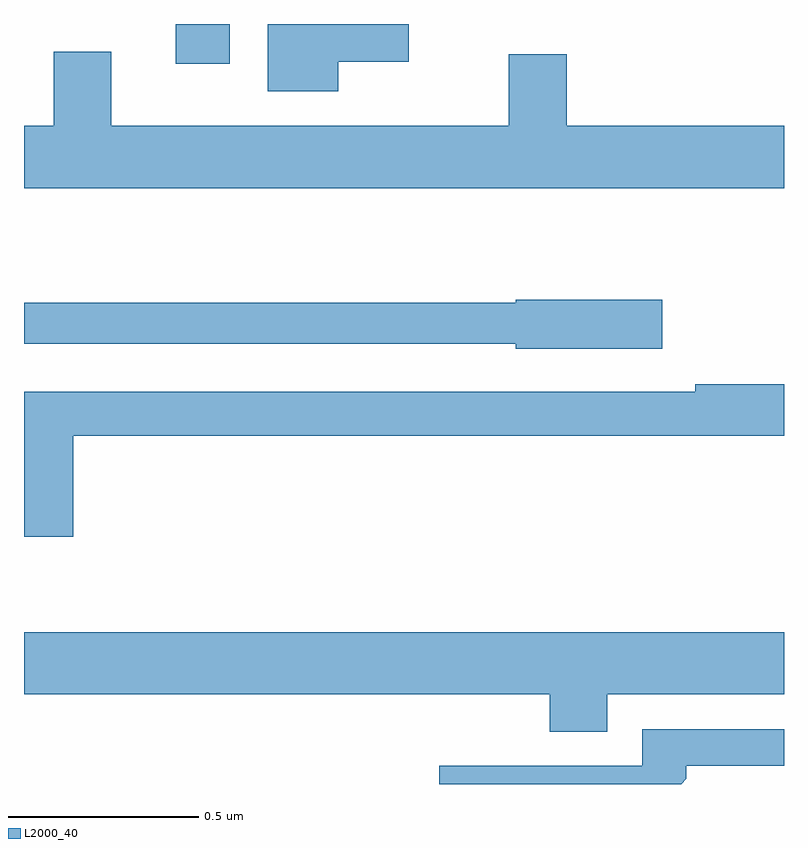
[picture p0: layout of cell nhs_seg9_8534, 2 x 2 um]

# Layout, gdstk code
import gdstk
lib = gdstk.Library(unit=1e-6, precision=1e-09)
def R(c, l, rs):  # rectangles x0, y0, x1, y1
    for r in rs: c.add(gdstk.rectangle(r[:2], r[2:], *l))
def P(c, l, *ps):  # polygons
    for p in ps: c.add(gdstk.Polygon(p, *l))
L2000_40 = (2000, 40)

nhs_seg9_8534 = lib.new_cell('nhs_seg9_8534')
R(nhs_seg9_8534, L2000_40, [(218.399,1215.396,218.542,1215.5)])
P(nhs_seg9_8534, L2000_40, [(218.827,1215.401),(219.013,1215.401),(219.013,1215.5),(218.642,1215.5),(218.642,1215.323),(218.827,1215.323)],
  [(220,1215.232),(219.428,1215.232),(219.428,1215.42),(219.275,1215.42),(219.275,1215.232),(218.23,1215.232),(218.23,1215.427),(218.078,1215.427),(218.078,1215.232),(218,1215.232),(218,1215.068),(220,1215.068)],
  [(219.679,1214.775),(219.294,1214.775),(219.294,1214.767),(218,1214.767),(218,1214.658),(219.294,1214.658),(219.294,1214.645),(219.679,1214.645)],
  [(218.129,1214.416),(220,1214.416),(220,1214.552),(219.766,1214.552),(219.766,1214.532),(218,1214.532),(218,1214.151),(218.129,1214.151)],
  [(219.535,1213.736),(220,1213.736),(220,1213.9),(218,1213.9),(218,1213.736),(219.383,1213.736),(219.383,1213.637),(219.535,1213.637)],
  [(219.743,1213.514),(219.743,1213.548),(220,1213.548),(220,1213.644),(219.627,1213.644),(219.627,1213.548),(219.093,1213.548),(219.093,1213.5),(219.729,1213.5)])

lib.write_gds('nhs_seg9_8534.gds')
